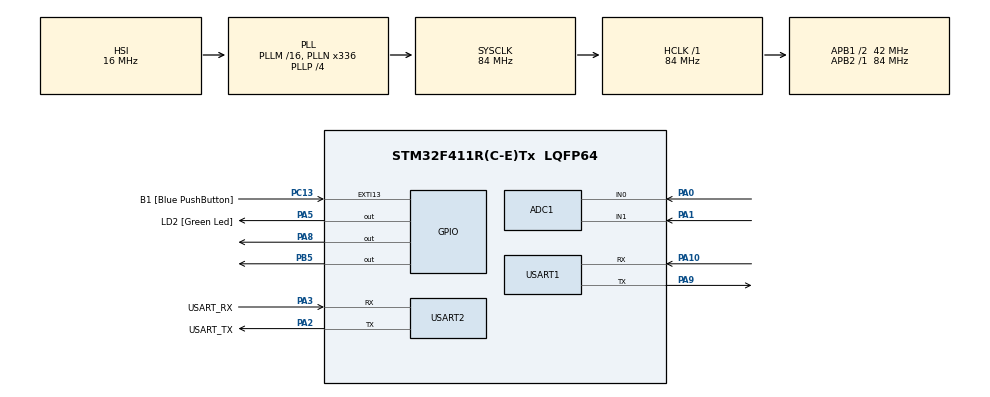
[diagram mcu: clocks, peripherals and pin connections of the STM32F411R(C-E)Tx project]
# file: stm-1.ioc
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ADC1.Channel-0\#ChannelRegularConversion=ADC_CHANNEL_0
ADC1.Channel-1\#ChannelRegularConversion=ADC_CHANNEL_1
ADC1.ContinuousConvMode=ENABLE
ADC1.EOCSelection=ADC_EOC_SEQ_CONV
ADC1.NbrOfConversion=2
ADC1.NbrOfConversionFlag=1
ADC1.Rank-0\#ChannelRegularConversion=1
ADC1.Rank-1\#ChannelRegularConversion=2
ADC1.SamplingTime-0\#ChannelRegularConversion=ADC_SAMPLETIME_3CYCLES
ADC1.SamplingTime-1\#ChannelRegularConversion=ADC_SAMPLETIME_480CYCLES
ADC1.ScanConvMode=ENABLE
ADC1.master=1
Dma.ADC1.0.Direction=DMA_PERIPH_TO_MEMORY
Dma.ADC1.0.FIFOMode=DMA_FIFOMODE_DISABLE
Dma.ADC1.0.Instance=DMA2_Stream0
Dma.ADC1.0.MemDataAlignment=DMA_MDATAALIGN_HALFWORD
Dma.ADC1.0.MemInc=DMA_MINC_ENABLE
Dma.ADC1.0.Mode=DMA_CIRCULAR
Dma.ADC1.0.PeriphDataAlignment=DMA_PDATAALIGN_HALFWORD
Dma.ADC1.0.PeriphInc=DMA_PINC_DISABLE
Dma.ADC1.0.Priority=DMA_PRIORITY_LOW
Dma.Request0=ADC1
FREERTOS.Tasks01=defaultTask,24,128,StartDefaultTask,Default,NULL,Dynamic,NULL,NULL;ReceiveMsg,24,128,StartReceiveMsg,Default,NULL,Dynamic,NULL,NULL
Mcu.Family=STM32F4
Mcu.Name=STM32F411R(C-E)Tx
Mcu.Package=LQFP64
NVIC.ADC_IRQn=true\:5\:0\:true\:false\:true\:true\:true\:true\:true
NVIC.DMA2_Stream0_IRQn=true\:5\:0\:false\:false\:true\:true\:false\:true\:true
NVIC.PriorityGroup=NVIC_PRIORITYGROUP_4
NVIC.USART1_IRQn=true\:5\:0\:false\:false\:true\:true\:true\:true\:true
PA0-WKUP.Signal=ADCx_IN0
PA1.Signal=ADCx_IN1
PA10.Mode=Asynchronous
PA10.Signal=USART1_RX
PA13.GPIO_Label=TMS
PA13.Mode=Serial_Wire
PA13.Signal=SYS_JTMS-SWDIO
PA14.GPIO_Label=TCK
PA14.Mode=Serial_Wire
PA14.Signal=SYS_JTCK-SWCLK
PA2.GPIO_Label=USART_TX
PA2.Mode=Asynchronous
PA2.Signal=USART2_TX
PA3.GPIO_Label=USART_RX
PA3.Mode=Asynchronous
PA3.Signal=USART2_RX
PA5.GPIO_Label=LD2 [Green Led]
PA5.Signal=GPIO_Output
PA8.Signal=GPIO_Output
PA9.Mode=Asynchronous
PA9.Signal=USART1_TX
PB3.GPIO_Label=SWO
PB3.Signal=SYS_JTDO-SWO
PB5.Signal=GPIO_Output
PC13-ANTI_TAMP.GPIO_Label=B1 [Blue PushButton]
PC13-ANTI_TAMP.GPIO_ModeDefaultEXTI=GPIO_MODE_IT_FALLING
PC13-ANTI_TAMP.Signal=GPXTI13
PC14-OSC32_IN.Mode=LSE-External-Oscillator
PC14-OSC32_IN.Signal=RCC_OSC32_IN
PC15-OSC32_OUT.Mode=LSE-External-Oscillator
PC15-OSC32_OUT.Signal=RCC_OSC32_OUT
PH0\ -\ OSC_IN.Mode=HSE-External-Clock-Source
PH0\ -\ OSC_IN.Signal=RCC_OSC_IN
PH1\ -\ OSC_OUT.Mode=HSE-External-Clock-Source
PH1\ -\ OSC_OUT.Signal=RCC_OSC_OUT
ProjectManager.HeapSize=0x200
ProjectManager.StackSize=0x400
ProjectManager.TargetToolchain=STM32CubeIDE
RCC.48MHZClocksFreq_Value=84000000
RCC.AHBFreq_Value=84000000
RCC.APB1CLKDivider=RCC_HCLK_DIV2
RCC.APB1Freq_Value=42000000
RCC.APB1TimFreq_Value=84000000
RCC.APB2Freq_Value=84000000
RCC.APB2TimFreq_Value=84000000
RCC.CortexFreq_Value=84000000
RCC.FLatency-AdvancedSettings=FLASH_LATENCY_2
RCC.HCLKFreq_Value=84000000
RCC.HSE_VALUE=8000000
RCC.HSI_VALUE=16000000
RCC.PLLN=336
RCC.PLLP=RCC_PLLP_DIV4
RCC.SYSCLKFreq_VALUE=84000000
RCC.SYSCLKSource=RCC_SYSCLKSOURCE_PLLCLK
RCC.VCOOutputFreq_Value=336000000
SH.ADCx_IN0.0=ADC1_IN0,IN0
SH.ADCx_IN1.0=ADC1_IN1,IN1
USART1.VirtualMode=VM_ASYNC
USART2.VirtualMode=VM_ASYNC
VP_FREERTOS_VS_CMSIS_V2.Mode=CMSIS_V2
board=NUCLEO-F411RE

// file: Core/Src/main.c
/* USER CODE BEGIN Header */
/**
 ******************************************************************************
 * @file           : main.c
 * @brief          : Main program body
 ******************************************************************************
 * @attention
 *
 * Copyright (c) 2024 STMicroelectronics.
 * All rights reserved.
 *
 * This software is licensed under terms that can be found in the LICENSE file
 * in the root directory of this software component.
 * If no LICENSE file comes with this software, it is provided AS-IS.
 *
 ******************************************************************************
 */
/* USER CODE END Header */
#include "main.h"
#include "cmsis_os.h"

/* USER CODE BEGIN Includes */
#include <stdio.h>
#include <string.h>
/* USER CODE END Includes */

ADC_HandleTypeDef hadc1;
DMA_HandleTypeDef hdma_adc1;

UART_HandleTypeDef huart1;
UART_HandleTypeDef huart2;

/* Definitions for defaultTask */
osThreadId_t defaultTaskHandle;
const osThreadAttr_t defaultTask_attributes = {
  .name = "defaultTask",
  .stack_size = 128 * 4,
  .priority = (osPriority_t) osPriorityNormal,
};
/* Definitions for ReceiveMsg */
osThreadId_t ReceiveMsgHandle;
const osThreadAttr_t ReceiveMsg_attributes = {
  .name = "ReceiveMsg",
  .stack_size = 128 * 4,
  .priority = (osPriority_t) osPriorityNormal,
};
/* USER CODE BEGIN PV */
uint32_t rxBuffer[12];
uint16_t val1 = 0;
uint16_t val2 = 0;
uint16_t rawValues[2];

__IO uint8_t uADCConversionFlag = 0;

char welcomeMsg[] = "==========Program Starting==========\n\r";
char msg[20];

char tx_msgToNode_1[20];
char tx_msgToNode_2[20];
/* USER CODE END PV */

void SystemClock_Config(void);
static void MX_GPIO_Init(void);
static void MX_DMA_Init(void);
static void MX_USART2_UART_Init(void);
static void MX_ADC1_Init(void);
static void MX_USART1_UART_Init(void);
void StartDefaultTask(void *argument);
void StartReceiveMsg(void *argument);

/* USER CODE BEGIN 0 */
void HAL_ADC_ConvCpltCallback(ADC_HandleTypeDef *hadc) {
	for (uint8_t i = 0; i < hadc1.Init.NbrOfConversion; i++) {
		val1 = (uint16_t) rawValues[0];
		val2 = (uint16_t) rawValues[1];
	}
	sprintf(tx_msgToNode_1, "1 %d ", val1);
	sprintf(tx_msgToNode_2, "2 %d", val2);

//	sprintf(msg, "WS_1 : %hu \n\r", val1);
//	HAL_UART_Transmit(&huart2, (uint8_t*) msg, strlen(msg), 100);
//	sprintf(msg, "WS_2 : %hu \n\r", val2);
//	HAL_UART_Transmit(&huart2, (uint8_t*) msg, strlen(msg), 100);

	HAL_ADC_Start_DMA(&hadc1, (uint32_t*) rawValues, 2);
}

void HAL_UART_RxCpltCallback(UART_HandleTypeDef *huart) {
	if (huart == &huart1) {
		char buf[5];
		sprintf(buf, "%s\n\r", rxBuffer);
//		HAL_UART_Transmit(&huart2, buf, 5, 1000);

		if (buf[0] == '1') {
			if (buf[2] == '0') {
				// Turn motor off
				HAL_GPIO_WritePin(GPIOB, GPIO_PIN_5, GPIO_PIN_RESET);
				HAL_UART_Transmit(&huart2, "1 off\n\r", 7, 1000);
			} else {
				// Turn motor on
				HAL_UART_Transmit(&huart2, "1 on\n\r", 6, 1000);
				HAL_GPIO_WritePin(GPIOB, GPIO_PIN_5, GPIO_PIN_SET);
			}
		}

		if (buf[0] == '2') {
			if (buf[2] == '0') {
				// Turn motor off
				HAL_UART_Transmit(&huart2, "2 off\n\r", 7, 1000);
				HAL_GPIO_WritePin(GPIOA, GPIO_PIN_8, GPIO_PIN_RESET);
			} else {
				// Turn motor on
				HAL_UART_Transmit(&huart2, "2 on\n\r", 6, 1000);
				HAL_GPIO_WritePin(GPIOA, GPIO_PIN_8, GPIO_PIN_SET);
			}
		}
	}
	HAL_UART_Receive_IT(&huart1, rxBuffer, 3);
}

/* USER CODE BEGIN Header_StartMessageSend */
/**
 * @brief Function implementing the MessageSend thread.
 * @param argument: Not used
 * @retval None
 */
/* USER CODE END Header_StartMessageSend */
/* USER CODE END 0 */

int main(void)
{

  /* MCU Configuration--------------------------------------------------------*/

  /* Reset of all peripherals, Initializes the Flash interface and the Systick. */
  HAL_Init();

  /* Configure the system clock */
  SystemClock_Config();

  /* Initialize all configured peripherals */
  MX_GPIO_Init();
  MX_DMA_Init();
  MX_USART2_UART_Init();
  MX_ADC1_Init();
  MX_USART1_UART_Init();
  /* USER CODE BEGIN 2 */
	HAL_UART_Transmit(&huart2, welcomeMsg, strlen(welcomeMsg), 1000);

  /* USER CODE END 2 */

  /* Init scheduler */
  osKernelInitialize();

  /* Create the thread(s) */
  /* creation of defaultTask */
  defaultTaskHandle = osThreadNew(StartDefaultTask, NULL, &defaultTask_attributes);

  /* creation of ReceiveMsg */
  ReceiveMsgHandle = osThreadNew(StartReceiveMsg, NULL, &ReceiveMsg_attributes);

  /* Start scheduler */
  osKernelStart();

  /* We should never get here as control is now taken by the scheduler */
  /* Infinite loop */
	while (1) {

    /* USER CODE BEGIN 3 */
//		HAL_UART_Transmit(&huart1, (uint8_t*) tx_msgToNode_1,
//				strlen(tx_msgToNode_1), HAL_MAX_DELAY);
//		HAL_UART_Transmit(&huart1, (uint8_t*) tx_msgToNode_2,
//				strlen(tx_msgToNode_2), HAL_MAX_DELAY);
//		HAL_Delay(2000);
	}
  /* USER CODE END 3 */
}

void SystemClock_Config(void)
{
  RCC_OscInitTypeDef RCC_OscInitStruct = {0};
  RCC_ClkInitTypeDef RCC_ClkInitStruct = {0};

  /** Configure the main internal regulator output voltage
  */
  __HAL_RCC_PWR_CLK_ENABLE();
  __HAL_PWR_VOLTAGESCALING_CONFIG(PWR_REGULATOR_VOLTAGE_SCALE1);

  /** Initializes the RCC Oscillators according to the specified parameters
  * in the RCC_OscInitTypeDef structure.
  */
  RCC_OscInitStruct.OscillatorType = RCC_OSCILLATORTYPE_HSI;
  RCC_OscInitStruct.HSIState = RCC_HSI_ON;
  RCC_OscInitStruct.HSICalibrationValue = RCC_HSICALIBRATION_DEFAULT;
  RCC_OscInitStruct.PLL.PLLState = RCC_PLL_ON;
  RCC_OscInitStruct.PLL.PLLSource = RCC_PLLSOURCE_HSI;
  RCC_OscInitStruct.PLL.PLLM = 16;
  RCC_OscInitStruct.PLL.PLLN = 336;
  RCC_OscInitStruct.PLL.PLLP = RCC_PLLP_DIV4;
  RCC_OscInitStruct.PLL.PLLQ = 4;
  if (HAL_RCC_OscConfig(&RCC_OscInitStruct) != HAL_OK)
  {
    Error_Handler();
  }

  /** Initializes the CPU, AHB and APB buses clocks
  */
  RCC_ClkInitStruct.ClockType = RCC_CLOCKTYPE_HCLK|RCC_CLOCKTYPE_SYSCLK
                              |RCC_CLOCKTYPE_PCLK1|RCC_CLOCKTYPE_PCLK2;
  RCC_ClkInitStruct.SYSCLKSource = RCC_SYSCLKSOURCE_PLLCLK;
  RCC_ClkInitStruct.AHBCLKDivider = RCC_SYSCLK_DIV1;
  RCC_ClkInitStruct.APB1CLKDivider = RCC_HCLK_DIV2;
  RCC_ClkInitStruct.APB2CLKDivider = RCC_HCLK_DIV1;

  if (HAL_RCC_ClockConfig(&RCC_ClkInitStruct, FLASH_LATENCY_2) != HAL_OK)
  {
    Error_Handler();
  }
}

static void MX_ADC1_Init(void)
{

  ADC_ChannelConfTypeDef sConfig = {0};

  /** Configure the global features of the ADC (Clock, Resolution, Data Alignment and number of conversion)
  */
  hadc1.Instance = ADC1;
  hadc1.Init.ClockPrescaler = ADC_CLOCK_SYNC_PCLK_DIV4;
  hadc1.Init.Resolution = ADC_RESOLUTION_12B;
  hadc1.Init.ScanConvMode = ENABLE;
  hadc1.Init.ContinuousConvMode = ENABLE;
  hadc1.Init.DiscontinuousConvMode = DISABLE;
  hadc1.Init.ExternalTrigConvEdge = ADC_EXTERNALTRIGCONVEDGE_NONE;
  hadc1.Init.ExternalTrigConv = ADC_SOFTWARE_START;
  hadc1.Init.DataAlign = ADC_DATAALIGN_RIGHT;
  hadc1.Init.NbrOfConversion = 2;
  hadc1.Init.DMAContinuousRequests = DISABLE;
  hadc1.Init.EOCSelection = ADC_EOC_SEQ_CONV;
  if (HAL_ADC_Init(&hadc1) != HAL_OK)
  {
    Error_Handler();
  }

  /** Configure for the selected ADC regular channel its corresponding rank in the sequencer and its sample time.
  */
  sConfig.Channel = ADC_CHANNEL_0;
  sConfig.Rank = 1;
  sConfig.SamplingTime = ADC_SAMPLETIME_3CYCLES;
  if (HAL_ADC_ConfigChannel(&hadc1, &sConfig) != HAL_OK)
  {
    Error_Handler();
  }

  /** Configure for the selected ADC regular channel its corresponding rank in the sequencer and its sample time.
  */
  sConfig.Channel = ADC_CHANNEL_1;
  sConfig.Rank = 2;
  sConfig.SamplingTime = ADC_SAMPLETIME_480CYCLES;
  if (HAL_ADC_ConfigChannel(&hadc1, &sConfig) != HAL_OK)
  {
    Error_Handler();
  }

}

static void MX_USART1_UART_Init(void)
{

  huart1.Instance = USART1;
  huart1.Init.BaudRate = 115200;
  huart1.Init.WordLength = UART_WORDLENGTH_8B;
  huart1.Init.StopBits = UART_STOPBITS_1;
  huart1.Init.Parity = UART_PARITY_NONE;
  huart1.Init.Mode = UART_MODE_TX_RX;
  huart1.Init.HwFlowCtl = UART_HWCONTROL_NONE;
  huart1.Init.OverSampling = UART_OVERSAMPLING_16;
  if (HAL_UART_Init(&huart1) != HAL_OK)
  {
    Error_Handler();
  }

}

static void MX_USART2_UART_Init(void)
{

  huart2.Instance = USART2;
  huart2.Init.BaudRate = 115200;
  huart2.Init.WordLength = UART_WORDLENGTH_8B;
  huart2.Init.StopBits = UART_STOPBITS_1;
  huart2.Init.Parity = UART_PARITY_NONE;
  huart2.Init.Mode = UART_MODE_TX_RX;
  huart2.Init.HwFlowCtl = UART_HWCONTROL_NONE;
  huart2.Init.OverSampling = UART_OVERSAMPLING_16;
  if (HAL_UART_Init(&huart2) != HAL_OK)
  {
    Error_Handler();
  }

}

static void MX_DMA_Init(void)
{

  /* DMA controller clock enable */
  __HAL_RCC_DMA2_CLK_ENABLE();

  /* DMA interrupt init */
  /* DMA2_Stream0_IRQn interrupt configuration */
  HAL_NVIC_SetPriority(DMA2_Stream0_IRQn, 5, 0);
  HAL_NVIC_EnableIRQ(DMA2_Stream0_IRQn);

}

static void MX_GPIO_Init(void)
{
  GPIO_InitTypeDef GPIO_InitStruct = {0};

  /* GPIO Ports Clock Enable */
  __HAL_RCC_GPIOC_CLK_ENABLE();
  __HAL_RCC_GPIOH_CLK_ENABLE();
  __HAL_RCC_GPIOA_CLK_ENABLE();
  __HAL_RCC_GPIOB_CLK_ENABLE();

  /*Configure GPIO pin Output Level */
  HAL_GPIO_WritePin(GPIOA, LD2_Pin|GPIO_PIN_8, GPIO_PIN_RESET);

  /*Configure GPIO pin Output Level */
  HAL_GPIO_WritePin(GPIOB, GPIO_PIN_5, GPIO_PIN_RESET);

  /*Configure GPIO pin : B1_Pin */
  GPIO_InitStruct.Pin = B1_Pin;
  GPIO_InitStruct.Mode = GPIO_MODE_IT_FALLING;
  GPIO_InitStruct.Pull = GPIO_NOPULL;
  HAL_GPIO_Init(B1_GPIO_Port, &GPIO_InitStruct);

  /*Configure GPIO pins : LD2_Pin PA8 */
  GPIO_InitStruct.Pin = LD2_Pin|GPIO_PIN_8;
  GPIO_InitStruct.Mode = GPIO_MODE_OUTPUT_PP;
  GPIO_InitStruct.Pull = GPIO_NOPULL;
  GPIO_InitStruct.Speed = GPIO_SPEED_FREQ_LOW;
  HAL_GPIO_Init(GPIOA, &GPIO_InitStruct);

  /*Configure GPIO pin : PB5 */
  GPIO_InitStruct.Pin = GPIO_PIN_5;
  GPIO_InitStruct.Mode = GPIO_MODE_OUTPUT_PP;
  GPIO_InitStruct.Pull = GPIO_NOPULL;
  GPIO_InitStruct.Speed = GPIO_SPEED_FREQ_LOW;
  HAL_GPIO_Init(GPIOB, &GPIO_InitStruct);

}

void StartDefaultTask(void *argument)
{
  /* USER CODE BEGIN 5 */
	HAL_ADC_Start_DMA(&hadc1, (uint32_t*) rawValues, 2);
  /* Infinite loop */
  for(;;)
  {
	char combined_msg[strlen(tx_msgToNode_1) + strlen(tx_msgToNode_2) + 1];
	strcpy(combined_msg, tx_msgToNode_1);
	strcat(combined_msg, tx_msgToNode_2);
	HAL_UART_Transmit(&huart1, (uint8_t*) combined_msg, strlen(combined_msg), HAL_MAX_DELAY);
	osDelay(2000);
  }
  /* USER CODE END 5 */
}

void StartReceiveMsg(void *argument)
{
  /* USER CODE BEGIN StartReceiveMsg */
	HAL_UART_Receive_IT(&huart1, rxBuffer, 3);
  /* Infinite loop */
  for(;;)
  {
    osDelay(1);
  }
  /* USER CODE END StartReceiveMsg */
}

void Error_Handler(void)
{
	__disable_irq();
	while (1) {
	}
}
